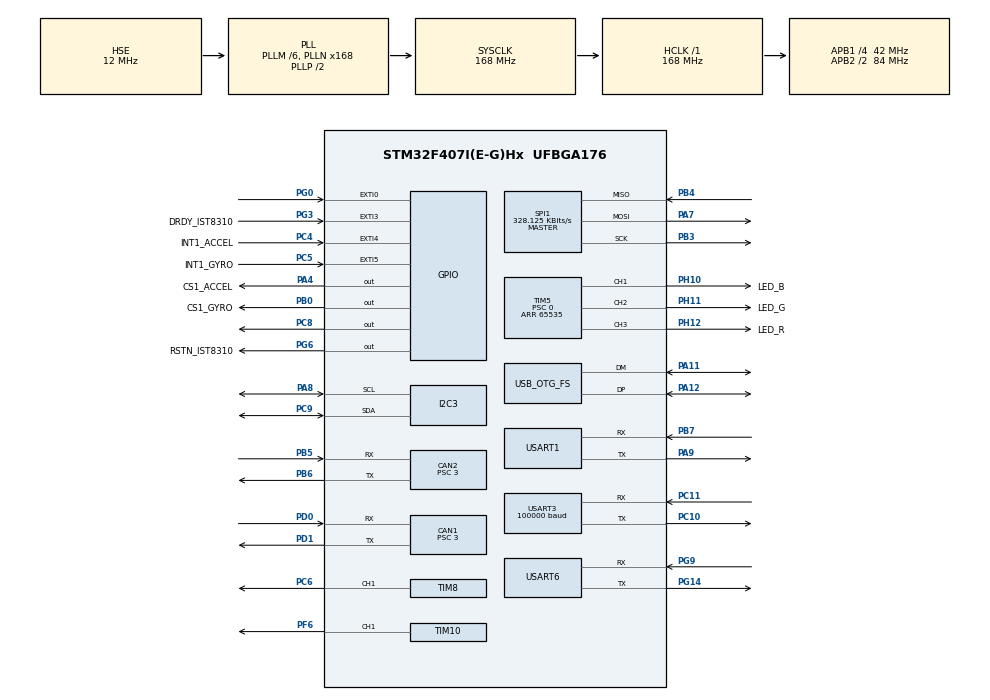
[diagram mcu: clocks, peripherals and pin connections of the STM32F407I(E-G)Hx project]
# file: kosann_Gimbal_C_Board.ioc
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CAN1.BS1=CAN_BS1_10TQ
CAN1.BS2=CAN_BS2_3TQ
CAN1.CalculateBaudRate=1000000
CAN1.CalculateTimeBit=1000
CAN1.CalculateTimeQuantum=71.42857142857143
CAN1.Prescaler=3
CAN2.BS1=CAN_BS1_10TQ
CAN2.BS2=CAN_BS2_3TQ
CAN2.CalculateBaudRate=1000000
CAN2.CalculateTimeBit=1000
CAN2.CalculateTimeQuantum=71.42857142857143
CAN2.Prescaler=3
Dma.Request0=USART1_RX
Dma.Request1=USART1_TX
Dma.Request2=USART3_RX
Dma.Request3=SPI1_RX
Dma.Request4=SPI1_TX
Dma.Request5=USART6_RX
Dma.Request6=USART6_TX
Dma.SPI1_RX.3.Direction=DMA_PERIPH_TO_MEMORY
Dma.SPI1_RX.3.FIFOMode=DMA_FIFOMODE_DISABLE
Dma.SPI1_RX.3.Instance=DMA2_Stream2
Dma.SPI1_RX.3.MemDataAlignment=DMA_MDATAALIGN_BYTE
Dma.SPI1_RX.3.MemInc=DMA_MINC_ENABLE
Dma.SPI1_RX.3.Mode=DMA_NORMAL
Dma.SPI1_RX.3.PeriphDataAlignment=DMA_PDATAALIGN_BYTE
Dma.SPI1_RX.3.PeriphInc=DMA_PINC_DISABLE
Dma.SPI1_RX.3.Priority=DMA_PRIORITY_VERY_HIGH
Dma.SPI1_TX.4.Direction=DMA_MEMORY_TO_PERIPH
Dma.SPI1_TX.4.FIFOMode=DMA_FIFOMODE_DISABLE
Dma.SPI1_TX.4.Instance=DMA2_Stream3
Dma.SPI1_TX.4.MemDataAlignment=DMA_MDATAALIGN_BYTE
Dma.SPI1_TX.4.MemInc=DMA_MINC_ENABLE
Dma.SPI1_TX.4.Mode=DMA_NORMAL
Dma.SPI1_TX.4.PeriphDataAlignment=DMA_PDATAALIGN_BYTE
Dma.SPI1_TX.4.PeriphInc=DMA_PINC_DISABLE
Dma.SPI1_TX.4.Priority=DMA_PRIORITY_HIGH
Dma.USART1_RX.0.Direction=DMA_PERIPH_TO_MEMORY
Dma.USART1_RX.0.FIFOMode=DMA_FIFOMODE_DISABLE
Dma.USART1_RX.0.Instance=DMA2_Stream5
Dma.USART1_RX.0.MemDataAlignment=DMA_MDATAALIGN_BYTE
Dma.USART1_RX.0.MemInc=DMA_MINC_ENABLE
Dma.USART1_RX.0.Mode=DMA_CIRCULAR
Dma.USART1_RX.0.PeriphDataAlignment=DMA_PDATAALIGN_BYTE
Dma.USART1_RX.0.PeriphInc=DMA_PINC_DISABLE
Dma.USART1_RX.0.Priority=DMA_PRIORITY_VERY_HIGH
Dma.USART1_TX.1.Direction=DMA_MEMORY_TO_PERIPH
Dma.USART1_TX.1.FIFOMode=DMA_FIFOMODE_DISABLE
Dma.USART1_TX.1.Instance=DMA2_Stream7
Dma.USART1_TX.1.MemDataAlignment=DMA_MDATAALIGN_BYTE
Dma.USART1_TX.1.MemInc=DMA_MINC_ENABLE
Dma.USART1_TX.1.Mode=DMA_NORMAL
Dma.USART1_TX.1.PeriphDataAlignment=DMA_PDATAALIGN_BYTE
Dma.USART1_TX.1.PeriphInc=DMA_PINC_DISABLE
Dma.USART1_TX.1.Priority=DMA_PRIORITY_VERY_HIGH
Dma.USART3_RX.2.Direction=DMA_PERIPH_TO_MEMORY
Dma.USART3_RX.2.FIFOMode=DMA_FIFOMODE_DISABLE
Dma.USART3_RX.2.Instance=DMA1_Stream1
Dma.USART3_RX.2.MemDataAlignment=DMA_MDATAALIGN_BYTE
Dma.USART3_RX.2.MemInc=DMA_MINC_ENABLE
Dma.USART3_RX.2.Mode=DMA_CIRCULAR
Dma.USART3_RX.2.PeriphDataAlignment=DMA_PDATAALIGN_BYTE
Dma.USART3_RX.2.PeriphInc=DMA_PINC_DISABLE
Dma.USART3_RX.2.Priority=DMA_PRIORITY_VERY_HIGH
Dma.USART6_RX.5.Direction=DMA_PERIPH_TO_MEMORY
Dma.USART6_RX.5.FIFOMode=DMA_FIFOMODE_DISABLE
Dma.USART6_RX.5.Instance=DMA2_Stream1
Dma.USART6_RX.5.MemDataAlignment=DMA_MDATAALIGN_BYTE
Dma.USART6_RX.5.MemInc=DMA_MINC_ENABLE
Dma.USART6_RX.5.Mode=DMA_CIRCULAR
Dma.USART6_RX.5.PeriphDataAlignment=DMA_PDATAALIGN_BYTE
Dma.USART6_RX.5.PeriphInc=DMA_PINC_DISABLE
Dma.USART6_RX.5.Priority=DMA_PRIORITY_LOW
Dma.USART6_TX.6.Direction=DMA_MEMORY_TO_PERIPH
Dma.USART6_TX.6.FIFOMode=DMA_FIFOMODE_DISABLE
Dma.USART6_TX.6.Instance=DMA2_Stream6
Dma.USART6_TX.6.MemDataAlignment=DMA_MDATAALIGN_BYTE
Dma.USART6_TX.6.MemInc=DMA_MINC_ENABLE
Dma.USART6_TX.6.Mode=DMA_NORMAL
Dma.USART6_TX.6.PeriphDataAlignment=DMA_PDATAALIGN_BYTE
Dma.USART6_TX.6.PeriphInc=DMA_PINC_DISABLE
Dma.USART6_TX.6.Priority=DMA_PRIORITY_LOW
FREERTOS.INCLUDE_vTaskDelayUntil=1
FREERTOS.INCLUDE_xTaskGetHandle=1
FREERTOS.Tasks01=defaultTask,0,128,StartDefaultTask,Default,NULL,Dynamic,NULL,NULL;Gimabal_Task,2,2048,GimbalTask,As weak,NULL,Dynamic,NULL,NULL;Vision_Task,1,512,VisionTask,As weak,NULL,Dynamic,NULL,NULL;imuTask,3,1024,INS_task,As weak,NULL,Static,imuTaskBuffer,imuTaskControlBlock
FREERTOS.Timers01=myTimer01,Callback01,osTimerPeriodic,Default,NULL,Dynamic,NULL
FREERTOS.configENABLE_FPU=1
FREERTOS.configUSE_NEWLIB_REENTRANT=1
FREERTOS.configUSE_TIMERS=1
I2C3.I2C_Mode=I2C_Fast
Mcu.Family=STM32F4
Mcu.Name=STM32F407I(E-G)Hx
Mcu.Package=UFBGA176
NVIC.CAN1_RX0_IRQn=true\:5\:0\:false\:false\:true\:true\:true\:true\:true
NVIC.CAN2_RX0_IRQn=true\:5\:0\:false\:false\:true\:true\:true\:true\:true
NVIC.DMA1_Stream1_IRQn=true\:5\:0\:false\:false\:true\:true\:false\:true\:true
NVIC.DMA2_Stream1_IRQn=true\:5\:0\:false\:false\:true\:true\:false\:true\:true
NVIC.DMA2_Stream2_IRQn=true\:5\:0\:false\:false\:true\:true\:false\:true\:true
NVIC.DMA2_Stream3_IRQn=true\:5\:0\:false\:false\:true\:true\:false\:true\:true
NVIC.DMA2_Stream5_IRQn=true\:5\:0\:false\:false\:true\:true\:false\:true\:true
NVIC.DMA2_Stream6_IRQn=true\:5\:0\:false\:false\:true\:true\:false\:true\:true
NVIC.DMA2_Stream7_IRQn=true\:5\:0\:false\:false\:true\:true\:false\:true\:true
NVIC.EXTI0_IRQn=true\:6\:0\:true\:false\:true\:true\:true\:true\:true
NVIC.EXTI3_IRQn=true\:5\:0\:false\:false\:true\:true\:true\:true\:true
NVIC.EXTI4_IRQn=true\:5\:0\:false\:false\:true\:true\:true\:true\:true
NVIC.EXTI9_5_IRQn=true\:5\:0\:false\:false\:true\:true\:true\:true\:true
NVIC.OTG_FS_IRQn=true\:5\:0\:false\:false\:true\:true\:false\:true\:true
NVIC.PriorityGroup=NVIC_PRIORITYGROUP_4
NVIC.TIM4_IRQn=true\:5\:0\:false\:false\:true\:true\:true\:true\:true
NVIC.TIM6_DAC_IRQn=true\:15\:0\:false\:false\:true\:false\:false\:true\:true
NVIC.TimeBase=TIM6_DAC_IRQn
NVIC.TimeBaseIP=TIM6
NVIC.USART1_IRQn=true\:5\:0\:false\:false\:true\:true\:true\:true\:true
NVIC.USART3_IRQn=true\:5\:0\:false\:false\:true\:true\:true\:true\:true
NVIC.USART6_IRQn=true\:5\:0\:false\:false\:true\:true\:true\:true\:true
PA11.Mode=Device_Only
PA11.Signal=USB_OTG_FS_DM
PA12.Mode=Device_Only
PA12.Signal=USB_OTG_FS_DP
PA13.Mode=Serial_Wire
PA13.Signal=SYS_JTMS-SWDIO
PA14.Mode=Serial_Wire
PA14.Signal=SYS_JTCK-SWCLK
PA4.GPIO_Label=CS1_ACCEL
PA4.GPIO_PuPd=GPIO_PULLUP
PA4.GPIO_Speed=GPIO_SPEED_FREQ_HIGH
PA4.PinState=GPIO_PIN_SET
PA4.Signal=GPIO_Output
PA7.Mode=Full_Duplex_Master
PA7.Signal=SPI1_MOSI
PA8.Mode=I2C
PA8.Signal=I2C3_SCL
PA9.Mode=Asynchronous
PA9.Signal=USART1_TX
PB0.GPIO_Label=CS1_GYRO
PB0.GPIO_PuPd=GPIO_PULLUP
PB0.GPIO_Speed=GPIO_SPEED_FREQ_HIGH
PB0.PinState=GPIO_PIN_SET
PB0.Signal=GPIO_Output
PB3.Mode=Full_Duplex_Master
PB3.Signal=SPI1_SCK
PB4.Mode=Full_Duplex_Master
PB4.Signal=SPI1_MISO
PB5.Mode=CAN_Activate
PB5.Signal=CAN2_RX
PB6.Mode=CAN_Activate
PB6.Signal=CAN2_TX
PB7.Mode=Asynchronous
PB7.Signal=USART1_RX
PC10.Mode=Asynchronous
PC10.Signal=USART3_TX
PC11.Mode=Asynchronous
PC11.Signal=USART3_RX
PC4.GPIO_Label=INT1_ACCEL
PC4.GPIO_ModeDefaultEXTI=GPIO_MODE_IT_FALLING
PC4.GPIO_PuPd=GPIO_PULLUP
PC4.Signal=GPXTI4
PC5.GPIO_Label=INT1_GYRO
PC5.GPIO_ModeDefaultEXTI=GPIO_MODE_IT_FALLING
PC5.GPIO_PuPd=GPIO_PULLUP
PC5.Signal=GPXTI5
PC6.Signal=S_TIM8_CH1
PC8.Signal=GPIO_Output
PC9.Mode=I2C
PC9.Signal=I2C3_SDA
PD0.Mode=CAN_Activate
PD0.Signal=CAN1_RX
PD1.Mode=CAN_Activate
PD1.Signal=CAN1_TX
PE11.Signal=S_TIM1_CH2
PE13.Signal=S_TIM1_CH3
PE14.Signal=S_TIM1_CH4
PE9.Signal=S_TIM1_CH1
PF6.GPIO_PuPd=GPIO_PULLUP
PF6.GPIO_Speed=GPIO_SPEED_FREQ_HIGH
PF6.Signal=S_TIM10_CH1
PG0.GPIO_ModeDefaultEXTI=GPIO_MODE_IT_FALLING
PG0.GPIO_PuPd=GPIO_PULLUP
PG0.Signal=GPXTI0
PG14.Mode=Asynchronous
PG14.Signal=USART6_TX
PG3.GPIO_Label=DRDY_IST8310
PG3.GPIO_ModeDefaultEXTI=GPIO_MODE_IT_FALLING
PG3.GPIO_PuPd=GPIO_PULLUP
PG3.Signal=GPXTI3
PG6.GPIO_Label=RSTN_IST8310
PG6.GPIO_PuPd=GPIO_PULLUP
PG6.GPIO_Speed=GPIO_SPEED_FREQ_MEDIUM
PG6.PinState=GPIO_PIN_SET
PG6.Signal=GPIO_Output
PG9.Mode=Asynchronous
PG9.Signal=USART6_RX
PH0-OSC_IN.Mode=HSE-External-Oscillator
PH0-OSC_IN.Signal=RCC_OSC_IN
PH1-OSC_OUT.Mode=HSE-External-Oscillator
PH1-OSC_OUT.Signal=RCC_OSC_OUT
PH10.GPIO_Label=LED_B
PH10.Signal=S_TIM5_CH1
PH11.GPIO_Label=LED_G
PH11.Signal=S_TIM5_CH2
PH12.GPIO_Label=LED_R
PH12.Signal=S_TIM5_CH3
ProjectManager.HeapSize=0x200
ProjectManager.StackSize=0x400
ProjectManager.TargetToolchain=STM32CubeIDE
RCC.48MHZClocksFreq_Value=48000000
RCC.AHBFreq_Value=168000000
RCC.APB1CLKDivider=RCC_HCLK_DIV4
RCC.APB1Freq_Value=42000000
RCC.APB1TimFreq_Value=84000000
RCC.APB2CLKDivider=RCC_HCLK_DIV2
RCC.APB2Freq_Value=84000000
RCC.APB2TimFreq_Value=168000000
RCC.CortexFreq_Value=168000000
RCC.HCLKFreq_Value=168000000
RCC.HSE_VALUE=12000000
RCC.HSI_VALUE=16000000
RCC.LSE_VALUE=32768
RCC.PLLM=6
RCC.PLLN=168
RCC.PLLQ=7
RCC.SYSCLKFreq_VALUE=168000000
RCC.SYSCLKSource=RCC_SYSCLKSOURCE_PLLCLK
RCC.VCOOutputFreq_Value=336000000
SH.S_TIM10_CH1.0=TIM10_CH1,PWM Generation1 CH1
SH.S_TIM1_CH1.0=TIM1_CH1
SH.S_TIM1_CH2.0=TIM1_CH2
SH.S_TIM1_CH3.0=TIM1_CH3
SH.S_TIM1_CH4.0=TIM1_CH4
SH.S_TIM5_CH1.0=TIM5_CH1,PWM Generation1 CH1
SH.S_TIM5_CH2.0=TIM5_CH2,PWM Generation2 CH2
SH.S_TIM5_CH3.0=TIM5_CH3,PWM Generation3 CH3
SH.S_TIM8_CH1.0=TIM8_CH1,PWM Generation1 CH1
SPI1.BaudRatePrescaler=SPI_BAUDRATEPRESCALER_256
SPI1.CLKPhase=SPI_PHASE_2EDGE
SPI1.CLKPolarity=SPI_POLARITY_HIGH
SPI1.CalculateBaudRate=328.125 KBits/s
SPI1.Direction=SPI_DIRECTION_2LINES
SPI1.Mode=SPI_MODE_MASTER
SPI1.VirtualType=VM_MASTER
STMicroelectronics.X-CUBE-ALGOBUILD.1.3.0.LibraryCcDSPOoLibraryJjDSPOoLibrary=true
TIM10.Channel=TIM_CHANNEL_1
TIM10.Period=4999
TIM10.Prescaler=0
TIM4.AutoReloadPreload=TIM_AUTORELOAD_PRELOAD_ENABLE
TIM4.Period=1000-1
TIM4.Prescaler=168-1
TIM5.Channel-PWM\ Generation1\ CH1=TIM_CHANNEL_1
TIM5.Channel-PWM\ Generation2\ CH2=TIM_CHANNEL_2
TIM5.Channel-PWM\ Generation3\ CH3=TIM_CHANNEL_3
TIM5.Period=65535
TIM5.Prescaler=0
TIM5.Pulse-PWM\ Generation1\ CH1=0
TIM5.Pulse-PWM\ Generation2\ CH2=0
TIM5.Pulse-PWM\ Generation3\ CH3=0
TIM8.Channel-PWM\ Generation1\ CH1=TIM_CHANNEL_1
TIM8.Period=20000-1
TIM8.Prescaler=168-1
TIM8.Pulse-PWM\ Generation1\ CH1=2000
USART1.VirtualMode=VM_ASYNC
USART3.BaudRate=100000
USART3.Mode=MODE_TX_RX
USART3.VirtualMode=VM_ASYNC
USART6.VirtualMode=VM_ASYNC
USB_DEVICE.CLASS_NAME_FS=CDC
USB_DEVICE.VirtualMode-CDC_FS=Cdc
USB_DEVICE.VirtualModeFS=Cdc_FS
USB_OTG_FS.VirtualMode=Device_Only
VP_FATFS_VS_Generic.Mode=User_defined
VP_FREERTOS_VS_CMSIS_V1.Mode=CMSIS_V1
VP_STMicroelectronics.X-CUBE-ALGOBUILD_VS_DSPOoLibraryJjLibrary_1.3.0_1.3.0.Mode=DSPOoLibraryJjLibrary
VP_SYS_VS_tim6.Mode=TIM6
VP_TIM10_VS_ClockSourceINT.Mode=Enable_Timer
VP_TIM4_VS_ClockSourceINT.Mode=Internal
VP_USB_DEVICE_VS_USB_DEVICE_CDC_FS.Mode=CDC_FS
board=custom

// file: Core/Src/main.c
/* USER CODE BEGIN Header */
/**
  ******************************************************************************
  * @file           : main.c
  * @brief          : Main program body
  ******************************************************************************
  * @attention
  *
  * Copyright (c) 2023 STMicroelectronics.
  * All rights reserved.
  *
  * This software is licensed under terms that can be found in the LICENSE file
  * in the root directory of this software component.
  * If no LICENSE file comes with this software, it is provided AS-IS.
  *
  ******************************************************************************
  */
/* USER CODE END Header */
#include "main.h"
#include "cmsis_os.h"
#include "can.h"
#include "dma.h"
#include "fatfs.h"
#include "i2c.h"
#include "spi.h"
#include "tim.h"
#include "usart.h"
#include "usb_device.h"
#include "gpio.h"

void SystemClock_Config(void);
void MX_FREERTOS_Init(void);

/* USER CODE BEGIN 0 */
void main_Init(void) {
    HAL_Init();
    SystemClock_Config();
    MX_GPIO_Init();
    MX_DMA_Init();
    MX_TIM8_Init();
    MX_USART1_UART_Init();
    MX_USART3_UART_Init();
    MX_USART6_UART_Init();
    MX_CAN1_Init();
    MX_CAN2_Init();
    MX_I2C3_Init();
    MX_SPI1_Init();
    MX_TIM10_Init();
    MX_TIM5_Init();
    MX_FATFS_Init();
    MX_TIM4_Init();

    HAL_TIM_Base_Start_IT(&htim4);
}
void OS_Init(){

    MX_FREERTOS_Init();
    osKernelStart();
}
/* USER CODE END 0 */

//int main(void)
//{
//  /* USER CODE BEGIN 1 */
//
//  /* USER CODE END 1 */
//
//  /* MCU Configuration--------------------------------------------------------*/
//
//  /* Reset of all peripherals, Initializes the Flash interface and the Systick. */
//  HAL_Init();
//
//  /* USER CODE BEGIN Init */
//
//  /* USER CODE END Init */
//
//  /* Configure the system clock */
//  SystemClock_Config();
//
//  /* USER CODE BEGIN SysInit */
//
//  /* USER CODE END SysInit */
//
//  /* Initialize all configured peripherals */
//  MX_GPIO_Init();
//  MX_DMA_Init();
//  MX_TIM8_Init();
//  MX_USART1_UART_Init();
//  MX_USART3_UART_Init();
//  MX_CAN1_Init();
//  MX_CAN2_Init();
//  MX_I2C3_Init();
//  MX_SPI1_Init();
//  MX_TIM10_Init();
//  MX_TIM5_Init();
//  MX_FATFS_Init();
//  MX_TIM4_Init();
//  MX_USART6_UART_Init();
//  /* USER CODE BEGIN 2 */
//
//  /* USER CODE END 2 */
//
//  /* Call init function for freertos objects (in freertos.c) */
//  MX_FREERTOS_Init();
//
//  /* Start scheduler */
//  osKernelStart();
//
//  /* We should never get here as control is now taken by the scheduler */
//  /* Infinite loop */
//  /* USER CODE BEGIN WHILE */
//  while (1)
//  {
//    /* USER CODE END WHILE */
//
//    /* USER CODE BEGIN 3 */
//  }
//  /* USER CODE END 3 */
//}

void SystemClock_Config(void)
{
  RCC_OscInitTypeDef RCC_OscInitStruct = {0};
  RCC_ClkInitTypeDef RCC_ClkInitStruct = {0};

  /** Configure the main internal regulator output voltage
  */
  __HAL_RCC_PWR_CLK_ENABLE();
  __HAL_PWR_VOLTAGESCALING_CONFIG(PWR_REGULATOR_VOLTAGE_SCALE1);

  /** Initializes the RCC Oscillators according to the specified parameters
  * in the RCC_OscInitTypeDef structure.
  */
  RCC_OscInitStruct.OscillatorType = RCC_OSCILLATORTYPE_HSE;
  RCC_OscInitStruct.HSEState = RCC_HSE_ON;
  RCC_OscInitStruct.PLL.PLLState = RCC_PLL_ON;
  RCC_OscInitStruct.PLL.PLLSource = RCC_PLLSOURCE_HSE;
  RCC_OscInitStruct.PLL.PLLM = 6;
  RCC_OscInitStruct.PLL.PLLN = 168;
  RCC_OscInitStruct.PLL.PLLP = RCC_PLLP_DIV2;
  RCC_OscInitStruct.PLL.PLLQ = 7;
  if (HAL_RCC_OscConfig(&RCC_OscInitStruct) != HAL_OK)
  {
    Error_Handler();
  }

  /** Initializes the CPU, AHB and APB buses clocks
  */
  RCC_ClkInitStruct.ClockType = RCC_CLOCKTYPE_HCLK|RCC_CLOCKTYPE_SYSCLK
                              |RCC_CLOCKTYPE_PCLK1|RCC_CLOCKTYPE_PCLK2;
  RCC_ClkInitStruct.SYSCLKSource = RCC_SYSCLKSOURCE_PLLCLK;
  RCC_ClkInitStruct.AHBCLKDivider = RCC_SYSCLK_DIV1;
  RCC_ClkInitStruct.APB1CLKDivider = RCC_HCLK_DIV4;
  RCC_ClkInitStruct.APB2CLKDivider = RCC_HCLK_DIV2;

  if (HAL_RCC_ClockConfig(&RCC_ClkInitStruct, FLASH_LATENCY_5) != HAL_OK)
  {
    Error_Handler();
  }
}

//void HAL_TIM_PeriodElapsedCallback(TIM_HandleTypeDef *htim)
//{
//  /* USER CODE BEGIN Callback 0 */
////////
//  /* USER CODE END Callback 0 */
//  if (htim->Instance == TIM6) {
//    HAL_IncTick();
//  }
//  /* USER CODE BEGIN Callback 1 */
////////
//  /* USER CODE END Callback 1 */
//}

void Error_Handler(void)
{
    __disable_irq();
    while (1) {
    }
}

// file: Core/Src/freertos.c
/* USER CODE BEGIN Header */
/**
  ******************************************************************************
  * File Name          : freertos.c
  * Description        : Code for freertos applications
  ******************************************************************************
  * @attention
  *
  * Copyright (c) 2023 STMicroelectronics.
  * All rights reserved.
  *
  * This software is licensed under terms that can be found in the LICENSE file
  * in the root directory of this software component.
  * If no LICENSE file comes with this software, it is provided AS-IS.
  *
  ******************************************************************************
  */
/* USER CODE END Header */

#include "FreeRTOS.h"
#include "task.h"
#include "main.h"
#include "cmsis_os.h"

osThreadId defaultTaskHandle;
osThreadId Gimabal_TaskHandle;
osThreadId Vision_TaskHandle;
osThreadId imuTaskHandle;
uint32_t imuTaskBuffer[ 1024 ];
osStaticThreadDef_t imuTaskControlBlock;
osTimerId myTimer01Handle;

void StartDefaultTask(void const * argument);
void GimbalTask(void const * argument);
void VisionTask(void const * argument);
void INS_task(void const * argument);
void Callback01(void const * argument);

extern void MX_USB_DEVICE_Init(void);
void MX_FREERTOS_Init(void); /* (MISRA C 2004 rule 8.1) */

/* GetIdleTaskMemory prototype (linked to static allocation support) */
void vApplicationGetIdleTaskMemory( StaticTask_t **ppxIdleTaskTCBBuffer, StackType_t **ppxIdleTaskStackBuffer, uint32_t *pulIdleTaskStackSize );

/* GetTimerTaskMemory prototype (linked to static allocation support) */
void vApplicationGetTimerTaskMemory( StaticTask_t **ppxTimerTaskTCBBuffer, StackType_t **ppxTimerTaskStackBuffer, uint32_t *pulTimerTaskStackSize );

/* USER CODE BEGIN GET_IDLE_TASK_MEMORY */
static StaticTask_t xIdleTaskTCBBuffer;
static StackType_t xIdleStack[configMINIMAL_STACK_SIZE];

void vApplicationGetIdleTaskMemory(StaticTask_t **ppxIdleTaskTCBBuffer, StackType_t **ppxIdleTaskStackBuffer,
                                   uint32_t *pulIdleTaskStackSize) {
    *ppxIdleTaskTCBBuffer = &xIdleTaskTCBBuffer;
    *ppxIdleTaskStackBuffer = &xIdleStack[0];
    *pulIdleTaskStackSize = configMINIMAL_STACK_SIZE;
    /* place for user code */
}
/* USER CODE END GET_IDLE_TASK_MEMORY */

/* USER CODE BEGIN GET_TIMER_TASK_MEMORY */
static StaticTask_t xTimerTaskTCBBuffer;
static StackType_t xTimerStack[configTIMER_TASK_STACK_DEPTH];

void vApplicationGetTimerTaskMemory(StaticTask_t **ppxTimerTaskTCBBuffer, StackType_t **ppxTimerTaskStackBuffer,
                                    uint32_t *pulTimerTaskStackSize) {
    *ppxTimerTaskTCBBuffer = &xTimerTaskTCBBuffer;
    *ppxTimerTaskStackBuffer = &xTimerStack[0];
    *pulTimerTaskStackSize = configTIMER_TASK_STACK_DEPTH;
    /* place for user code */
}
/* USER CODE END GET_TIMER_TASK_MEMORY */

void MX_FREERTOS_Init(void) {

  /* Create the timer(s) */
  /* definition and creation of myTimer01 */
  osTimerDef(myTimer01, Callback01);
  myTimer01Handle = osTimerCreate(osTimer(myTimer01), osTimerPeriodic, NULL);

  /* Create the thread(s) */
  /* definition and creation of defaultTask */
  osThreadDef(defaultTask, StartDefaultTask, osPriorityNormal, 0, 128);
  defaultTaskHandle = osThreadCreate(osThread(defaultTask), NULL);

  /* definition and creation of Gimabal_Task */
  osThreadDef(Gimabal_Task, GimbalTask, osPriorityHigh, 0, 2048);
  Gimabal_TaskHandle = osThreadCreate(osThread(Gimabal_Task), NULL);

  /* definition and creation of Vision_Task */
  osThreadDef(Vision_Task, VisionTask, osPriorityAboveNormal, 0, 512);
  Vision_TaskHandle = osThreadCreate(osThread(Vision_Task), NULL);

  /* definition and creation of imuTask */
  osThreadStaticDef(imuTask, INS_task, osPriorityRealtime, 0, 1024, imuTaskBuffer, &imuTaskControlBlock);
  imuTaskHandle = osThreadCreate(osThread(imuTask), NULL);

}

void StartDefaultTask(void const * argument)
{
  /* init code for USB_DEVICE */
  MX_USB_DEVICE_Init();
  /* USER CODE BEGIN StartDefaultTask */
    /* Infinite loop */
    for (;;) {
//        vTaskDelayUntil(&curr, pdMS_TO_TICKS(20));
        osDelay(20);
    }
  /* USER CODE END StartDefaultTask */
}

__weak void GimbalTask(void const * argument)
{
  for(;;)
  {
    osDelay(1);
  }
}

__weak void VisionTask(void const * argument)
{
  for(;;)
  {
    osDelay(1);
  }
}

__weak void INS_task(void const * argument)
{
  for(;;)
  {
    osDelay(1);
  }
}

/* Callback01 function */
void Callback01(void const * argument)
{
}
